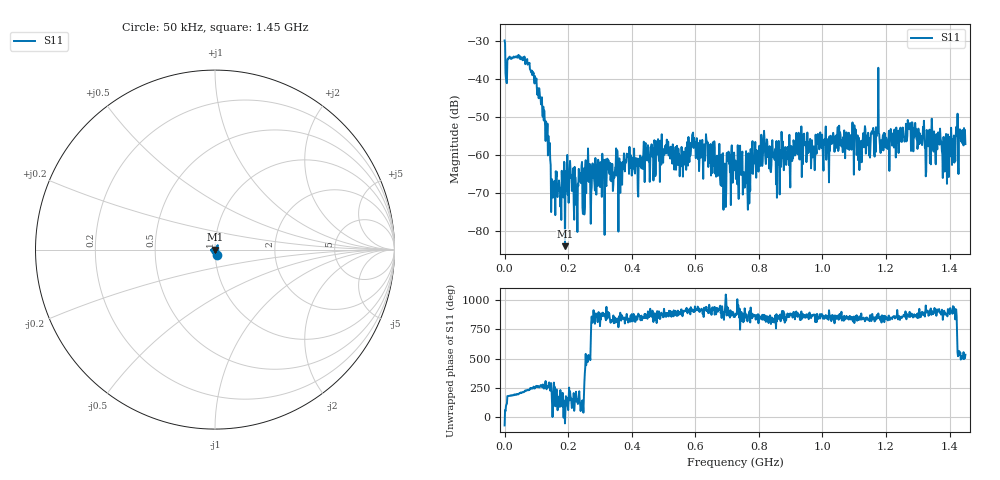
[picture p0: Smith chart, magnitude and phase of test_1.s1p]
! Created with skrf 1.11.0 (http://scikit-rf.org).
# Hz S RI R 50.0
!freq ReS11 ImS11
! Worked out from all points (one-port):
!   1001 points, 50 kHz to 1.45 GHz, reference 50 ohm
!   lowest |S11| = -84.1 dB at 190 MHz (marker M1), VSWR 1.00, Z = 50 - j0.0051 ohm
!   |S11| at or under -10 dB: start of sweep to end of sweep
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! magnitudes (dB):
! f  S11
! 50 kHz  -29.9
! 84.15 MHz  -38.4
! 127.6 MHz  -52.6
! 152.3 MHz  -69.1
! 181.3 MHz  -68.6
! 190 MHz  -84.1
! 210.3 MHz  -65.4
! 224.8 MHz  -69.1
! 261 MHz  -66.9
! 362.5 MHz  -62.3
! 445.2 MHz  -61.5
! 543.8 MHz  -61.4
! 597.4 MHz  -57.8
! 690.2 MHz  -64.1
! 707.6 MHz  -59.9
! 725 MHz  -61.9
! 768.5 MHz  -61.4
! 781.6 MHz  -65.1
! 813.5 MHz  -59.0
! 906.3 MHz  -60.4
! 1.088 GHz  -56.4
! 1.119 GHz  -56.4
! 1.173 GHz  -54.3
! 1.188 GHz  -58.6
! 1.269 GHz  -50.9
! 1.366 GHz  -55.1
! 1.385 GHz  -64.5
! 1.45 GHz  -57.2
